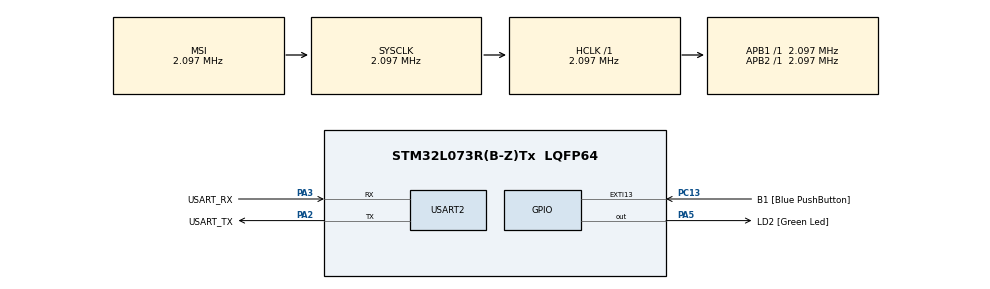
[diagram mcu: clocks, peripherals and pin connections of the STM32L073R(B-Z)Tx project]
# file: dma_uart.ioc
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Dma.Request0=USART2_TX
Dma.USART2_TX.0.Direction=DMA_MEMORY_TO_PERIPH
Dma.USART2_TX.0.Instance=DMA1_Channel7
Dma.USART2_TX.0.MemDataAlignment=DMA_MDATAALIGN_BYTE
Dma.USART2_TX.0.MemInc=DMA_MINC_ENABLE
Dma.USART2_TX.0.Mode=DMA_NORMAL
Dma.USART2_TX.0.PeriphDataAlignment=DMA_PDATAALIGN_BYTE
Dma.USART2_TX.0.PeriphInc=DMA_PINC_DISABLE
Dma.USART2_TX.0.Priority=DMA_PRIORITY_LOW
Mcu.Family=STM32L0
Mcu.Name=STM32L073R(B-Z)Tx
Mcu.Package=LQFP64
NVIC.DMA1_Channel4_5_6_7_IRQn=true\:0\:0\:false\:false\:true\:false\:true\:true
PA13.GPIO_Label=TMS
PA13.Mode=Serial_Wire
PA13.Signal=SYS_SWDIO
PA14.GPIO_Label=TCK
PA14.Mode=Serial_Wire
PA14.Signal=SYS_SWCLK
PA2.GPIO_Label=USART_TX
PA2.Mode=Asynchronous
PA2.Signal=USART2_TX
PA3.GPIO_Label=USART_RX
PA3.Mode=Asynchronous
PA3.Signal=USART2_RX
PA5.GPIO_Label=LD2 [Green Led]
PA5.Signal=GPIO_Output
PC13.GPIO_Label=B1 [Blue PushButton]
PC13.GPIO_ModeDefaultEXTI=GPIO_MODE_IT_FALLING
PC13.Signal=GPXTI13
PC14-OSC32_IN.Mode=LSE-External-Oscillator
PC14-OSC32_IN.Signal=RCC_OSC32_IN
PC15-OSC32_OUT.Mode=LSE-External-Oscillator
PC15-OSC32_OUT.Signal=RCC_OSC32_OUT
PH0-OSC_IN.GPIO_Label=MCO
PH0-OSC_IN.Mode=HSE-External-Clock-Source
PH0-OSC_IN.Signal=RCC_OSC_IN
ProjectManager.HeapSize=0x200
ProjectManager.StackSize=0x400
ProjectManager.TargetToolchain=STM32CubeIDE
RCC.AHBFreq_Value=2097000
RCC.APB1Freq_Value=2097000
RCC.APB1TimFreq_Value=2097000
RCC.APB2Freq_Value=2097000
RCC.APB2TimFreq_Value=2097000
RCC.HSE_VALUE=8000000
RCC.HSI16_VALUE=16000000
RCC.HSI48_VALUE=48000000
RCC.HSI_VALUE=16000000
RCC.MSI_VALUE=2097000
RCC.SYSCLKFreq_VALUE=2097000
RCC.VCOOutputFreq_Value=48000000
USART2.VirtualMode-Asynchronous=VM_ASYNC
board=NUCLEO-L073RZ

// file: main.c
/* USER CODE BEGIN Header */
/**
  ******************************************************************************
  * @file           : main.c
  * @brief          : Main program body
  ******************************************************************************
  * @attention
  *
  * Copyright (c) 2022 STMicroelectronics.
  * All rights reserved.
  *
  * This software is licensed under terms that can be found in the LICENSE file
  * in the root directory of this software component.
  * If no LICENSE file comes with this software, it is provided AS-IS.
  *
  ******************************************************************************
  */
/* USER CODE END Header */
#include "main.h"

/* USER CODE BEGIN Includes */
#include <string.h>
#include <stdio.h>
/* USER CODE END Includes */

UART_HandleTypeDef huart2;
DMA_HandleTypeDef hdma_usart2_tx;

void SystemClock_Config(void);
static void MX_GPIO_Init(void);
static void MX_DMA_Init(void);
static void MX_USART2_UART_Init(void);
/* USER CODE BEGIN PFP */
void DMATTransferComplete(DMA_HandleTypeDef *hdma);
/* USER CODE END PFP */

int main(void)
{
  /* USER CODE BEGIN 1 */
	char msg[] = "i want to let you know that we got here." \
				 " we have come till here."\
				 "its the end of the world. \r\n";

	char sexymsg[100];
	int buflen;

  /* USER CODE END 1 */

  /* MCU Configuration--------------------------------------------------------*/

  /* Reset of all peripherals, Initializes the Flash interface and the Systick. */
  HAL_Init();

  /* Configure the system clock */
  SystemClock_Config();

  /* Initialize all configured peripherals */
  MX_GPIO_Init();
  MX_DMA_Init();
  MX_USART2_UART_Init();
  /* USER CODE BEGIN 2 */
  HAL_DMA_RegisterCallback(&hdma_usart2_tx, HAL_DMA_XFER_CPLT_CB_ID, &DMATTransferComplete);
  /* USER CODE END 2 */

  /* Infinite loop */
  /* USER CODE BEGIN WHILE */
  while (1)
  {
	  huart2.Instance->CR3 |= USART_CR3_DMAT;
	  HAL_DMA_Start_IT(&hdma_usart2_tx, (uint32_t)msg, (uint32_t)&huart2.Instance->TDR, strlen(msg));
	  HAL_Delay(1000);
	  buflen = sprintf(sexymsg, "hello there i am sending this okay...\r\n");
	  HAL_UART_Transmit(&huart2, (uint8_t*)sexymsg, buflen, 100);
    /* USER CODE END WHILE */

  }
}

void SystemClock_Config(void)
{
  RCC_OscInitTypeDef RCC_OscInitStruct = {0};
  RCC_ClkInitTypeDef RCC_ClkInitStruct = {0};
  RCC_PeriphCLKInitTypeDef PeriphClkInit = {0};

  /** Configure the main internal regulator output voltage
  */
  __HAL_PWR_VOLTAGESCALING_CONFIG(PWR_REGULATOR_VOLTAGE_SCALE1);

  /** Initializes the RCC Oscillators according to the specified parameters
  * in the RCC_OscInitTypeDef structure.
  */
  RCC_OscInitStruct.OscillatorType = RCC_OSCILLATORTYPE_MSI;
  RCC_OscInitStruct.MSIState = RCC_MSI_ON;
  RCC_OscInitStruct.MSICalibrationValue = 0;
  RCC_OscInitStruct.MSIClockRange = RCC_MSIRANGE_5;
  RCC_OscInitStruct.PLL.PLLState = RCC_PLL_NONE;
  if (HAL_RCC_OscConfig(&RCC_OscInitStruct) != HAL_OK)
  {
    Error_Handler();
  }

  /** Initializes the CPU, AHB and APB buses clocks
  */
  RCC_ClkInitStruct.ClockType = RCC_CLOCKTYPE_HCLK|RCC_CLOCKTYPE_SYSCLK
                              |RCC_CLOCKTYPE_PCLK1|RCC_CLOCKTYPE_PCLK2;
  RCC_ClkInitStruct.SYSCLKSource = RCC_SYSCLKSOURCE_MSI;
  RCC_ClkInitStruct.AHBCLKDivider = RCC_SYSCLK_DIV1;
  RCC_ClkInitStruct.APB1CLKDivider = RCC_HCLK_DIV1;
  RCC_ClkInitStruct.APB2CLKDivider = RCC_HCLK_DIV1;

  if (HAL_RCC_ClockConfig(&RCC_ClkInitStruct, FLASH_LATENCY_0) != HAL_OK)
  {
    Error_Handler();
  }
  PeriphClkInit.PeriphClockSelection = RCC_PERIPHCLK_USART2;
  PeriphClkInit.Usart2ClockSelection = RCC_USART2CLKSOURCE_PCLK1;
  if (HAL_RCCEx_PeriphCLKConfig(&PeriphClkInit) != HAL_OK)
  {
    Error_Handler();
  }
}

static void MX_USART2_UART_Init(void)
{

  huart2.Instance = USART2;
  huart2.Init.BaudRate = 115200;
  huart2.Init.WordLength = UART_WORDLENGTH_8B;
  huart2.Init.StopBits = UART_STOPBITS_1;
  huart2.Init.Parity = UART_PARITY_NONE;
  huart2.Init.Mode = UART_MODE_TX_RX;
  huart2.Init.HwFlowCtl = UART_HWCONTROL_NONE;
  huart2.Init.OverSampling = UART_OVERSAMPLING_16;
  huart2.Init.OneBitSampling = UART_ONE_BIT_SAMPLE_DISABLE;
  huart2.AdvancedInit.AdvFeatureInit = UART_ADVFEATURE_NO_INIT;
  if (HAL_UART_Init(&huart2) != HAL_OK)
  {
    Error_Handler();
  }

}

static void MX_DMA_Init(void)
{

  /* DMA controller clock enable */
  __HAL_RCC_DMA1_CLK_ENABLE();

  /* DMA interrupt init */
  /* DMA1_Channel4_5_6_7_IRQn interrupt configuration */
  HAL_NVIC_SetPriority(DMA1_Channel4_5_6_7_IRQn, 0, 0);
  HAL_NVIC_EnableIRQ(DMA1_Channel4_5_6_7_IRQn);

}

static void MX_GPIO_Init(void)
{
  GPIO_InitTypeDef GPIO_InitStruct = {0};

  /* GPIO Ports Clock Enable */
  __HAL_RCC_GPIOC_CLK_ENABLE();
  __HAL_RCC_GPIOH_CLK_ENABLE();
  __HAL_RCC_GPIOA_CLK_ENABLE();

  /*Configure GPIO pin Output Level */
  HAL_GPIO_WritePin(LD2_GPIO_Port, LD2_Pin, GPIO_PIN_RESET);

  /*Configure GPIO pin : B1_Pin */
  GPIO_InitStruct.Pin = B1_Pin;
  GPIO_InitStruct.Mode = GPIO_MODE_IT_FALLING;
  GPIO_InitStruct.Pull = GPIO_NOPULL;
  HAL_GPIO_Init(B1_GPIO_Port, &GPIO_InitStruct);

  /*Configure GPIO pin : LD2_Pin */
  GPIO_InitStruct.Pin = LD2_Pin;
  GPIO_InitStruct.Mode = GPIO_MODE_OUTPUT_PP;
  GPIO_InitStruct.Pull = GPIO_NOPULL;
  GPIO_InitStruct.Speed = GPIO_SPEED_FREQ_LOW;
  HAL_GPIO_Init(LD2_GPIO_Port, &GPIO_InitStruct);

}

/* USER CODE BEGIN 4 */
void DMATTransferComplete(DMA_HandleTypeDef *hdma)
{
	huart2.Instance->CR3 &= ~USART_CR3_DMAT;

	HAL_GPIO_TogglePin(LD2_GPIO_Port, LD2_Pin);
}
/* USER CODE END 4 */

void Error_Handler(void)
{
  __disable_irq();
  while (1)
  {
  }
}
